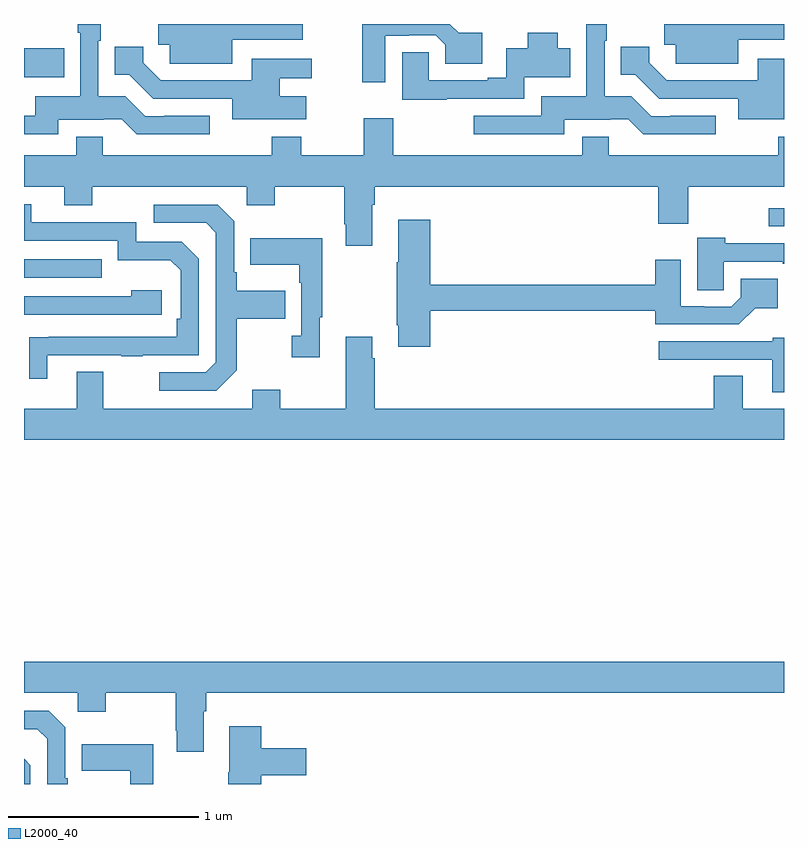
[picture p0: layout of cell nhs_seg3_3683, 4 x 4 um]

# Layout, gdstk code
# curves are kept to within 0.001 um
import gdstk
lib = gdstk.Library(unit=1e-6, precision=1e-09)
def R(c, l, rs):  # rectangles x0, y0, x1, y1
    for r in rs: c.add(gdstk.rectangle(r[:2], r[2:], *l))
def P(c, l, *ps):  # polygons
    for p in ps: c.add(gdstk.Polygon(p, *l))
L2000_40 = (2000, 40)

nhs_seg3_3683 = lib.new_cell('nhs_seg3_3683')
R(nhs_seg3_3683, L2000_40, [(301,739.065,301.409,739.161), (304.92,739.335,305,739.431), (301,740.12,301.211,740.272)])
P(nhs_seg3_3683, L2000_40, [(304.642,739.917),(304.402,739.917),(304.402,739.914),(304.302,739.914),(304.197,740.019),(304.056,740.019),(304.056,740.312),(304.067,740.312),(304.067,740.4),(303.959,740.4),(303.96,740.02),(303.722,740.02),(303.722,739.917),(303.366,739.917),(303.366,739.821),(303.844,739.821),(303.844,739.895),(304.085,739.895),(304.085,739.899),(304.179,739.899),(304.258,739.82),(304.642,739.82)],
  [(302.902,740.337),(303.026,740.337),(303.026,740.34),(303.168,740.34),(303.218,740.29),(303.218,740.192),(303.412,740.192),(303.412,740.353),(303.288,740.353),(303.241,740.4),(302.78,740.4),(302.78,740.094),(302.902,740.094)],
  [(302.095,740.316),(302.467,740.316),(302.467,740.4),(301.707,740.4),(301.707,740.291),(301.766,740.291),(301.766,740.192),(302.095,740.192)],
  [(301.978,739.917),(301.738,739.917),(301.738,739.914),(301.638,739.914),(301.533,740.019),(301.392,740.019),(301.392,740.312),(301.403,740.312),(301.403,740.4),(301.284,740.4),(301.284,740.354),(301.296,740.354),(301.296,740.02),(301.058,740.02),(301.058,739.917),(301,739.917),(301,739.821),(301.18,739.821),(301.18,739.895),(301.421,739.895),(301.421,739.899),(301.515,739.899),(301.594,739.82),(301.978,739.82)],
  [(304.759,740.316),(305,740.316),(305,740.4),(304.371,740.4),(304.371,740.291),(304.43,740.291),(304.43,740.192),(304.759,740.192)],
  [(303.226,740.007),(303.633,740.007),(303.633,740.12),(303.875,740.12),(303.875,740.272),(303.808,740.272),(303.808,740.353),(303.65,740.353),(303.65,740.272),(303.537,740.272),(303.537,740.116),(303.44,740.116),(303.44,740.103),(303.129,740.103),(303.129,740.252),(302.99,740.252),(302.99,740.002),(303.226,740.002)],
  [(305,740.218),(304.862,740.218),(304.862,740.103),(304.383,740.103),(304.291,740.195),(304.291,740.28),(304.141,740.28),(304.141,740.132),(304.218,740.132),(304.343,740.007),(304.76,740.007),(304.76,739.898),(305,739.898)],
  [(302.485,740.02),(302.346,740.02),(302.346,740.114),(302.515,740.114),(302.515,740.218),(302.198,740.218),(302.198,740.103),(301.719,740.103),(301.627,740.195),(301.627,740.28),(301.477,740.28),(301.477,740.132),(301.554,740.132),(301.679,740.007),(302.096,740.007),(302.096,739.898),(302.485,739.898)],
  [(302.833,739.448),(302.846,739.448),(302.846,739.544),(304.337,739.544),(304.337,739.35),(304.497,739.35),(304.497,739.544),(305,739.544),(305,739.807),(304.969,739.807),(304.969,739.708),(304.078,739.708),(304.078,739.807),(303.938,739.807),(303.938,739.708),(302.943,739.708),(302.943,739.903),(302.788,739.903),(302.788,739.708),(302.46,739.708),(302.46,739.807),(302.305,739.807),(302.305,739.708),(301.414,739.708),(301.414,739.807),(301.274,739.807),(301.274,739.708),(301,739.708),(301,739.544),(301.211,739.544),(301.211,739.445),(301.359,739.445),(301.359,739.544),(302.172,739.544),(302.172,739.445),(302.319,739.445),(302.319,739.544),(302.686,739.544),(302.686,739.345),(302.693,739.345),(302.693,739.233),(302.833,739.233)],
  [(301.123,738.657),(301.513,738.657),(301.513,738.652),(301.625,738.652),(301.625,738.657),(301.92,738.657),(301.92,739.164),(301.83,739.254),(301.59,739.254),(301.59,739.356),(301.039,739.356),(301.039,739.452),(301,739.452),(301,739.26),(301.494,739.26),(301.494,739.157),(301.771,739.157),(301.824,739.104),(301.824,738.85),(301.804,738.85),(301.804,738.753),(301.027,738.752),(301.027,738.534),(301.123,738.534)],
  [(302.119,738.577),(302.119,738.85),(302.375,738.85),(302.375,738.997),(302.119,738.997),(302.119,739.093),(302.106,739.093),(302.106,739.362),(302.019,739.449),(301.683,739.449),(301.683,739.353),(301.959,739.353),(302.01,739.302),(302.01,738.621),(301.956,738.567),(301.713,738.567),(301.713,738.471),(302.013,738.471)],
  [(303.137,738.892),(304.322,738.892),(304.322,738.819),(304.762,738.819),(304.848,738.905),(304.966,738.905),(304.966,739.06),(304.773,739.06),(304.773,738.963),(304.722,738.912),(304.58,738.912),(304.58,738.915),(304.456,738.915),(304.456,739.159),(304.322,739.159),(304.322,739.028),(303.137,739.028),(303.137,739.369),(302.969,739.369),(302.969,739.145),(302.962,739.145),(302.962,738.814),(302.969,738.814),(302.969,738.702),(303.137,738.702)],
  [(304.683,739.149),(304.994,739.149),(304.994,739.137),(305,739.137),(305,739.245),(304.691,739.245),(304.691,739.276),(304.544,739.276),(304.544,739),(304.683,739)],
  [(302.557,738.857),(302.569,738.857),(302.569,739.273),(302.191,739.273),(302.191,739.133),(302.448,739.133),(302.448,739.037),(302.46,739.037),(302.46,738.758),(302.409,738.758),(302.409,738.645),(302.557,738.645)],
  [(301.726,739),(301.565,739),(301.565,738.966),(301,738.966),(301,738.87),(301.726,738.87)],
  [(302.201,738.475),(302.201,738.376),(301.417,738.376),(301.417,738.571),(301.277,738.571),(301.277,738.376),(301,738.376),(301,738.212),(305,738.212),(305,738.376),(304.783,738.376),(304.783,738.548),(304.631,738.548),(304.631,738.376),(302.846,738.376),(302.846,738.641),(302.833,738.641),(302.833,738.754),(302.693,738.754),(302.693,738.376),(302.349,738.376),(302.349,738.475)],
  [(305,738.75),(304.941,738.75),(304.941,738.729),(304.341,738.729),(304.341,738.633),(304.937,738.633),(304.937,738.462),(305,738.462)],
  [(301.945,736.784),(301.958,736.784),(301.958,736.88),(305,736.88),(305,737.044),(301,737.044),(301,736.88),(301.284,736.88),(301.284,736.781),(301.431,736.781),(301.431,736.88),(301.798,736.88),(301.798,736.681),(301.805,736.681),(301.805,736.569),(301.945,736.569)],
  [(301.231,736.429),(301.218,736.429),(301.218,736.698),(301.131,736.785),(301,736.785),(301,736.689),(301.071,736.689),(301.122,736.638),(301.122,736.4),(301.231,736.4)],
  [(302.249,736.445),(302.485,736.445),(302.485,736.587),(302.249,736.587),(302.249,736.705),(302.081,736.705),(302.081,736.461),(302.074,736.461),(302.074,736.4),(302.249,736.4)],
  [(301.681,736.609),(301.303,736.609),(301.303,736.469),(301.56,736.469),(301.56,736.4),(301.681,736.4)],
  [(301.032,736.5),(301,736.532),(301,736.4),(301.032,736.4)])

lib.write_gds('nhs_seg3_3683.gds')
